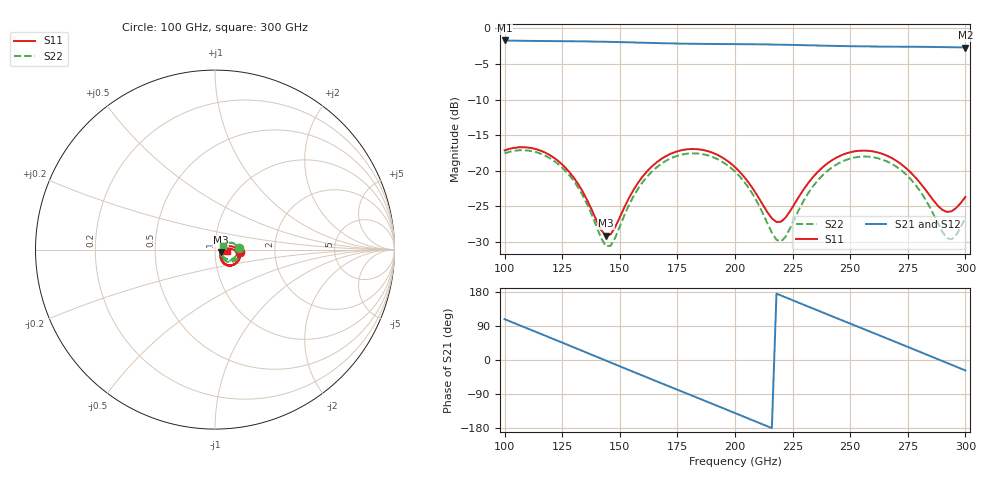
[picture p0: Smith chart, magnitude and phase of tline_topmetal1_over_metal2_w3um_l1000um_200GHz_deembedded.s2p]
! Created with skrf 2.0.1 (http://scikit-rf.org).
# GHz S DB R 50.0
!freq dBS11 angS11 dBS21 angS21 dBS12 angS12 dBS22 angS22
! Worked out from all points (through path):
!   101 points, 100 GHz to 300 GHz, reference 50 ohm
!   highest |S21| = -1.70 dB at 100 GHz (marker M1); lowest = -2.7 dB at 300 GHz (marker M2)
!   group delay of S21, straight-line fit = 6.88 ps
!   lowest |S11| = -29.1 dB at 144 GHz (marker M3), VSWR 1.07, Z = 53.2 - j1.68 ohm
!   |S11| at or under -10 dB: start of sweep to end of sweep
!   |S22| runs from -30.6 to -17.1 dB; largest |S21 - S12| = 9e-14
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100  -17.13 -4.9  -1.70 107.7  -1.70 107.7  -17.55 3.5
108  -16.68 -20.3  -1.74 88.0  -1.74 88.0  -17.10 -11.2
116  -17.21 -35.4  -1.77 68.2  -1.77 68.2  -17.64 -26.0
126  -19.43 -52.2  -1.80 43.4  -1.80 43.4  -19.87 -42.6
134  -22.99 -59.3  -1.83 23.4  -1.83 23.4  -23.51 -50.3
144  -29.12 -26.8  -1.88 -1.6  -1.88 -1.6  -30.58 -17.6
148  -27.91 0.5  -1.91 -11.6  -1.91 -11.6  -29.40 14.8
156  -22.65 14.9  -1.98 -31.5  -1.98 -31.5  -23.55 31.0
168  -18.34 1.0  -2.08 -61.2  -2.08 -61.2  -19.01 17.2
184  -16.97 -27.2  -2.17 -100.5  -2.17 -100.5  -17.58 -11.1
200  -19.48 -52.8  -2.21 -140.0  -2.21 -140.0  -20.10 -37.8
210  -23.64 -56.7  -2.24 -164.9  -2.24 -164.9  -24.61 -44.7
216  -26.68 -41.2  -2.27 -179.8  -2.27 -179.8  -28.69 -30.3
220  -27.13 -20.6  -2.29 170.2  -2.29 170.2  -29.92 -3.5
234  -20.82 2.7  -2.39 135.4  -2.39 135.4  -22.11 28.2
244  -18.15 -9.2  -2.46 110.8  -2.46 110.8  -19.12 15.3
252  -17.26 -21.9  -2.51 91.2  -2.51 91.2  -18.12 1.8
268  -18.20 -47.3  -2.56 51.8  -2.56 51.8  -19.01 -25.8
280  -21.56 -57.8  -2.59 22.1  -2.59 22.1  -22.69 -40.5
292  -25.78 -33.4  -2.64 -7.7  -2.64 -7.7  -29.44 -14.9
296  -25.22 -17.9  -2.66 -17.6  -2.66 -17.6  -29.01 11.1
300  -23.67 -8.1  -2.68 -27.6  -2.68 -27.6  -26.60 26.3
